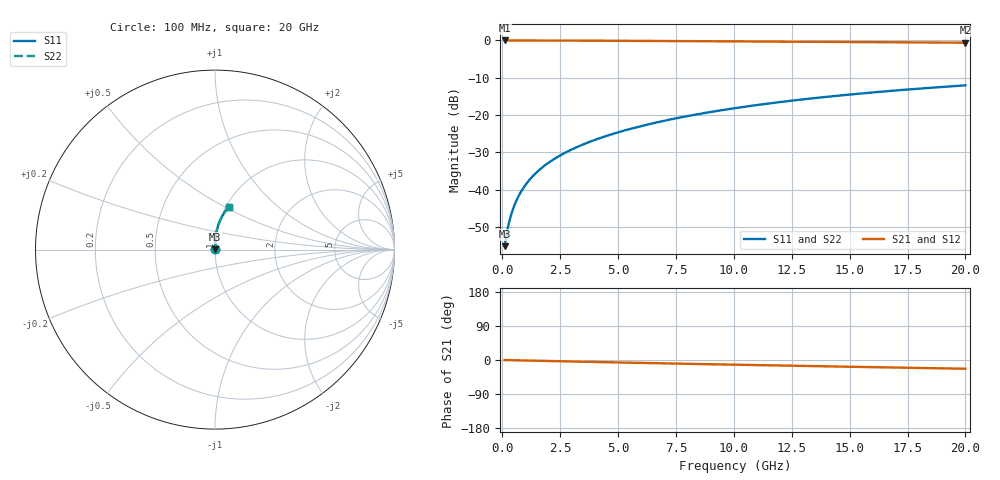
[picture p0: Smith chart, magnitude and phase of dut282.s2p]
! Touchstone file exported from HFSS 2024.1.0
!  File:  C:/UserFiles/LocalFiles/RDL_TSV_Batchsim/temp_RDL_bottom_282_1778702998.aedt
!  Generated:  04:12:31 AM May 14, 2026
!  Design:  RDL_bottom
!  Project:  temp_RDL_bottom_282_1778702998
!  Setup:  Setup1
!  Solution:  Sweep
! Variables:
!  dtsv = 10.80580581um
!  hbump = 3um
!  htsv = 75.77um
!  ldown = 289.38um
!  lrdl = 100um
!  p = 40
!  p1 = 54.17um
!  rhole = 1um
!  t = 450um
!  tdown = 4.44um
!  trdl = 3.915915916um
!  wdown = 21.42um
!  wrdl = 20um
# GHz S MA R 50.000000
! Terminal data exported
! Port[1] = RDL1_T1
! Port[2] = RDL1_T2
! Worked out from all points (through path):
!   200 points, 100 MHz to 20 GHz, reference 50 ohm
!   highest |S21| = -0.01 dB at 100 MHz (marker M1); lowest = -0.6 dB at 20 GHz (marker M2)
!   group delay of S21, straight-line fit = 3.17 ps
!   lowest |S11| = -55.2 dB at 100 MHz (marker M3), VSWR 1.00, Z = 50.1 + j0.122 ohm
!   |S11| at or under -10 dB: start of sweep to end of sweep
!   |S22| runs from -55.2 to -12.0 dB; largest |S21 - S12| = 3.5e-15
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0.1  0.001742 44.4  0.9987 -0.1  0.9987 -0.1  0.001742 44.4
! Gamma 0 0 0 0
! Port Impedance 50 0 50 0
0.2  0.002685 61.1  0.9987 -0.3  0.9987 -0.3  0.002685 61.1
0.3  0.003721 69.3  0.9986 -0.4  0.9986 -0.4  0.003721 69.3
0.4  0.0048 73.9  0.9985 -0.5  0.9985 -0.5  0.0048 73.9
0.5  0.005901 76.9  0.9984 -0.7  0.9984 -0.7  0.005901 76.9
0.6  0.007016 78.9  0.9984 -0.8  0.9984 -0.8  0.007016 78.9
0.8  0.009264 81.5  0.9982 -1.1  0.9982 -1.1  0.009264 81.5
1.1  0.01266 83.6  0.9979 -1.5  0.9979 -1.5  0.01266 83.6
1.5  0.01721 85.1  0.9974 -2.0  0.9974 -2.0  0.01721 85.1
1.8  0.02064 85.8  0.997 -2.4  0.997 -2.4  0.02064 85.8
2.1  0.02408 86.3  0.9965 -2.8  0.9965 -2.8  0.02408 86.3
2.7  0.03101 86.9  0.9952 -3.6  0.9952 -3.6  0.03101 86.9
3.5  0.04041 87.3  0.9933 -4.6  0.9933 -4.6  0.04041 87.3
4.2  0.04879 87.4  0.9913 -5.5  0.9913 -5.5  0.04879 87.4
5  0.05856 87.3  0.9888 -6.5  0.9888 -6.5  0.05856 87.3
5.9  0.06978 87.0  0.9858 -7.6  0.9858 -7.6  0.06977 87.0
6.8  0.0812 86.4  0.9826 -8.7  0.9826 -8.7  0.0812 86.4
8.4  0.1019 85.2  0.9768 -10.5  0.9768 -10.5  0.1019 85.2
10.1  0.1242 83.5  0.9706 -12.5  0.9706 -12.5  0.1242 83.5
13.4  0.1674 79.9  0.9583 -16.1  0.9583 -16.1  0.1674 79.9
16.7  0.2095 76.0  0.9456 -19.6  0.9456 -19.6  0.2095 76.0
20  0.2498 72.2  0.9325 -23.1  0.9325 -23.1  0.2498 72.2
